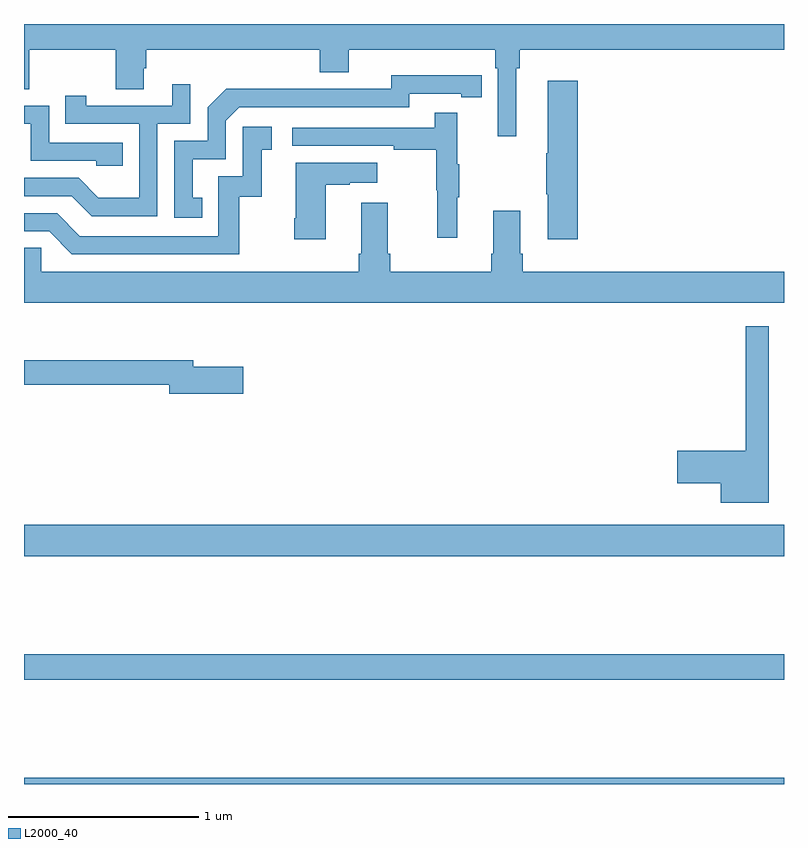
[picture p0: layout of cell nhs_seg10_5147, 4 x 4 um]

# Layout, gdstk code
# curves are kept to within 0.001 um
import gdstk
lib = gdstk.Library(unit=1e-6, precision=1e-09)
def R(c, l, rs):  # rectangles x0, y0, x1, y1
    for r in rs: c.add(gdstk.rectangle(r[:2], r[2:], *l))
def P(c, l, *ps):  # polygons
    for p in ps: c.add(gdstk.Polygon(p, *l))
L2000_40 = (2000, 40)

nhs_seg10_5147 = lib.new_cell('nhs_seg10_5147')
R(nhs_seg10_5147, L2000_40, [(411,1248.5,415,1248.532), (411,1249.048,415,1249.184), (411,1249.7,415,1249.864)])
P(nhs_seg10_5147, L2000_40, [(413.59,1252.268),(413.609,1252.268),(413.609,1252.364),(415,1252.364),(415,1252.5),(411,1252.5),(411,1252.156),(411.027,1252.156),(411.027,1252.364),(411.484,1252.364),(411.484,1252.156),(411.631,1252.156),(411.631,1252.266),(411.644,1252.266),(411.644,1252.364),(412.556,1252.364),(412.556,1252.247),(412.708,1252.247),(412.708,1252.364),(413.48,1252.364),(413.48,1252.268),(413.493,1252.268),(413.493,1251.909),(413.59,1251.909)],
  [(411.938,1251.585),(411.889,1251.585),(411.889,1251.789),(412.062,1251.789),(412.062,1251.99),(412.134,1252.062),(413.028,1252.062),(413.028,1252.134),(413.3,1252.134),(413.3,1252.114),(413.408,1252.114),(413.408,1252.23),(412.932,1252.231),(412.932,1252.158),(412.472,1252.158),(412.472,1252.16),(412.064,1252.16),(411.966,1252.062),(411.966,1251.885),(411.792,1251.885),(411.792,1251.48),(411.938,1251.48)],
  [(413.915,1252.201),(413.756,1252.201),(413.756,1251.821),(413.749,1251.821),(413.749,1251.604),(413.756,1251.604),(413.756,1251.366),(413.915,1251.366)],
  [(411.702,1251.975),(411.876,1251.975),(411.876,1252.183),(411.779,1252.183),(411.779,1252.071),(411.328,1252.071),(411.328,1252.123),(411.217,1252.123),(411.217,1251.975),(411.606,1251.975),(411.606,1251.586),(411.392,1251.586),(411.288,1251.69),(411,1251.69),(411,1251.594),(411.251,1251.594),(411.356,1251.489),(411.702,1251.489)],
  [(411.521,1251.876),(411.132,1251.876),(411.132,1252.071),(411,1252.071),(411,1251.975),(411.036,1251.975),(411.036,1251.78),(411.381,1251.78),(411.381,1251.753),(411.521,1251.753)],
  [(413.279,1251.587),(413.29,1251.587),(413.29,1251.761),(413.279,1251.761),(413.279,1252.033),(413.161,1252.033),(413.161,1251.954),(412.413,1251.954),(412.413,1251.858),(412.945,1251.858),(412.945,1251.838),(413.169,1251.838),(413.169,1251.624),(413.176,1251.624),(413.176,1251.375),(413.279,1251.375)],
  [(412.132,1251.591),(412.25,1251.591),(412.25,1251.837),(412.303,1251.837),(412.303,1251.958),(412.152,1251.958),(412.152,1251.699),(412.023,1251.699),(412.023,1251.384),(411.294,1251.384),(411.174,1251.504),(411,1251.504),(411,1251.408),(411.132,1251.408),(411.252,1251.288),(412.132,1251.288)],
  [(412.588,1251.655),(412.715,1251.655),(412.715,1251.665),(412.858,1251.665),(412.858,1251.769),(412.43,1251.769),(412.43,1251.478),(412.423,1251.478),(412.423,1251.366),(412.588,1251.366)],
  [(415,1251.196),(413.624,1251.196),(413.624,1251.292),(413.611,1251.292),(413.611,1251.517),(413.471,1251.517),(413.471,1251.292),(413.459,1251.292),(413.459,1251.196),(412.928,1251.196),(412.928,1251.292),(412.915,1251.292),(412.915,1251.559),(412.775,1251.559),(412.775,1251.292),(412.763,1251.292),(412.763,1251.196),(411.09,1251.196),(411.09,1251.323),(411,1251.323),(411,1251.032),(415,1251.032)],
  [(414.919,1250.908),(414.798,1250.908),(414.798,1250.255),(414.438,1250.255),(414.438,1250.084),(414.668,1250.084),(414.668,1249.979),(414.919,1249.979)],
  [(412.153,1250.697),(411.892,1250.697),(411.892,1250.731),(411,1250.731),(411,1250.602),(411.764,1250.602),(411.764,1250.555),(412.153,1250.555)])

lib.write_gds('nhs_seg10_5147.gds')
